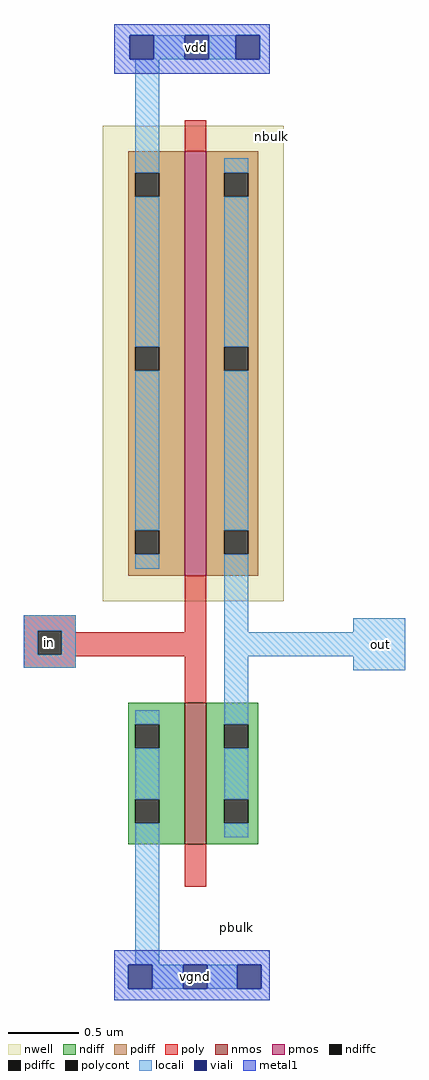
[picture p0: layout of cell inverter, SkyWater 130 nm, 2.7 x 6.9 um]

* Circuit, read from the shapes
.subckt inverter in out vdd vgnd
XM1 out in vgnd VSUBS sky130_fd_pr__nfet_01v8 w=1 l=0.15
XM2 out in vdd n1 sky130_fd_pr__pfet_01v8 w=3 l=0.15
.ends

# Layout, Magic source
magic
tech sky130A
<< nwell >>
rect 472 77 600 413
<< nmos >>
rect 530 -95 545 5
<< pmos >>
rect 530 95 545 395
<< ndiff >>
rect 490 -10 530 5
rect 490 -27 495 -10
rect 512 -27 530 -10
rect 490 -63 530 -27
rect 490 -80 495 -63
rect 512 -80 530 -63
rect 490 -95 530 -80
rect 545 -10 582 5
rect 545 -27 558 -10
rect 575 -27 582 -10
rect 545 -63 582 -27
rect 545 -80 558 -63
rect 575 -80 582 -63
rect 545 -95 582 -80
<< pdiff >>
rect 490 380 530 395
rect 490 363 495 380
rect 512 363 530 380
rect 490 257 530 363
rect 490 240 495 257
rect 512 240 530 257
rect 490 127 530 240
rect 490 110 495 127
rect 512 110 530 127
rect 490 95 530 110
rect 545 380 582 395
rect 545 363 558 380
rect 575 363 582 380
rect 545 257 582 363
rect 545 240 558 257
rect 575 240 582 257
rect 545 127 582 240
rect 545 110 558 127
rect 575 110 582 127
rect 545 95 582 110
<< ndiffc >>
rect 495 -27 512 -10
rect 495 -80 512 -63
rect 558 -27 575 -10
rect 558 -80 575 -63
<< pdiffc >>
rect 495 363 512 380
rect 495 240 512 257
rect 495 110 512 127
rect 558 363 575 380
rect 558 240 575 257
rect 558 110 575 127
<< poly >>
rect 530 395 545 417
rect 416 56 453 67
rect 416 39 426 56
rect 443 55 453 56
rect 530 55 545 95
rect 443 39 545 55
rect 416 38 545 39
rect 416 30 453 38
rect 530 5 545 38
rect 530 -125 545 -95
<< polycont >>
rect 426 39 443 56
<< locali >>
rect 508 460 530 477
rect 547 460 566 477
rect 495 380 512 460
rect 495 257 512 363
rect 495 127 512 240
rect 495 100 512 110
rect 558 380 575 390
rect 558 257 575 363
rect 558 127 575 240
rect 416 56 453 67
rect 416 39 426 56
rect 443 39 453 56
rect 416 30 453 39
rect 558 55 575 110
rect 649 55 686 65
rect 558 38 686 55
rect 495 -10 512 0
rect 495 -63 512 -27
rect 495 -180 512 -80
rect 558 -10 575 38
rect 649 28 686 38
rect 558 -63 575 -27
rect 558 -90 575 -80
rect 507 -197 529 -180
rect 546 -197 567 -180
<< viali >>
rect 491 460 508 477
rect 530 460 547 477
rect 566 460 583 477
rect 490 -197 507 -180
rect 529 -197 546 -180
rect 567 -197 584 -180
<< metal1 >>
rect 480 477 590 485
rect 480 460 491 477
rect 508 460 530 477
rect 547 460 566 477
rect 583 460 590 477
rect 480 450 590 460
rect 480 -180 590 -170
rect 480 -197 490 -180
rect 507 -197 529 -180
rect 546 -197 567 -180
rect 584 -197 590 -180
rect 480 -205 590 -197
<< labels >>
flabel polycont 426 39 443 56 0 FreeSans 80 0 0 0 in
flabel viali 529 -197 546 -180 0 FreeSans 80 0 0 0 vgnd
flabel locali 660 38 677 55 0 FreeSans 80 0 0 0 out
flabel viali 530 460 547 477 0 FreeSans 80 0 0 0 vdd
flabel space 558 -162 575 -145 0 FreeSans 80 0 0 0 pbulk
flabel space 583 397 600 414 0 FreeSans 80 0 0 0 nbulk
<< end >>
